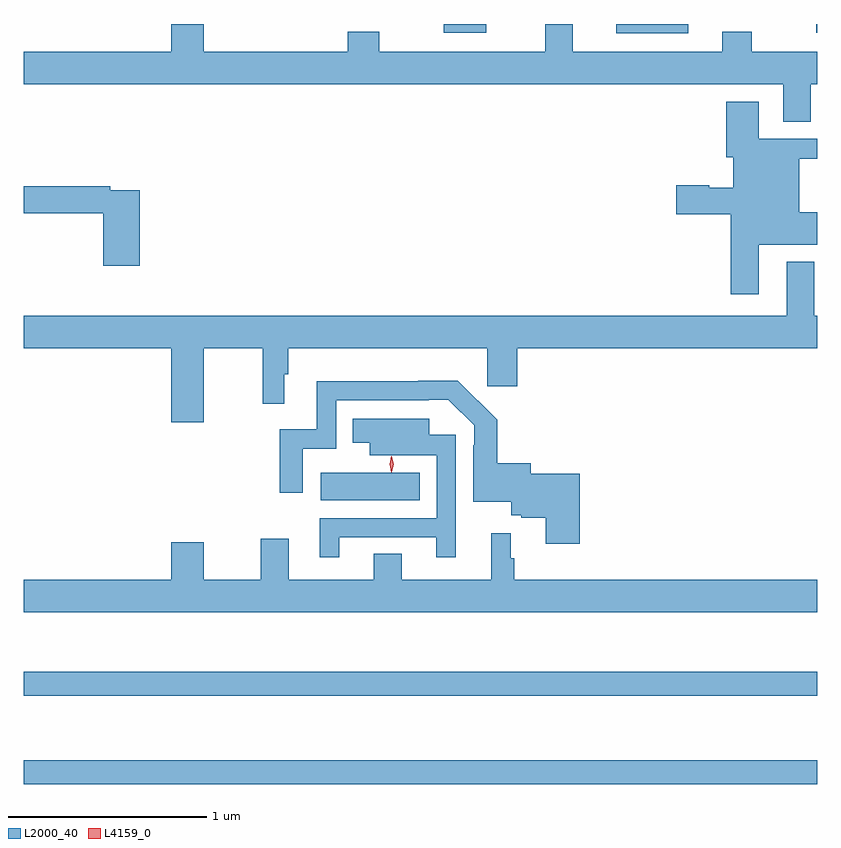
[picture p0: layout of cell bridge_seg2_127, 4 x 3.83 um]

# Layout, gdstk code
import gdstk
lib = gdstk.Library(unit=1e-6, precision=1e-09)
def R(c, l, rs):  # rectangles x0, y0, x1, y1
    for r in rs: c.add(gdstk.rectangle(r[:2], r[2:], *l))
def P(c, l, *ps):  # polygons
    for p in ps: c.add(gdstk.Polygon(p, *l))
L2000_40 = (2000, 40)
L4159_0 = (4159, 0)

bridge_seg2_127 = lib.new_cell('bridge_seg2_127')
R(bridge_seg2_127, L2000_40, [(392.038,640.11,396.038,640.231), (392.038,640.554,396.038,640.675), (393.534,641.54,394.034,641.68), (395.025,643.896,395.389,643.943), (394.155,643.899,394.369,643.943), (396.033,643.899,396.038,643.943)])
P(bridge_seg2_127, L2000_40, [(396.007,643.64),(396.038,643.64),(396.038,643.804),(395.709,643.804),(395.709,643.903),(395.561,643.903),(395.561,643.804),(394.807,643.804),(394.807,643.943),(394.667,643.943),(394.667,643.804),(393.831,643.804),(393.831,643.903),(393.671,643.903),(393.671,643.804),(392.944,643.804),(392.944,643.943),(392.78,643.943),(392.78,643.804),(392.038,643.804),(392.038,643.64),(395.867,643.64),(395.867,643.45),(396.007,643.45)],
  [(395.743,642.83),(396.038,642.83),(396.038,642.994),(395.947,642.994),(395.947,643.264),(396.038,643.264),(396.038,643.365),(395.743,643.365),(395.743,643.552),(395.579,643.552),(395.579,643.272),(395.615,643.272),(395.615,643.117),(395.495,643.117),(395.495,643.13),(395.328,643.13),(395.328,642.983),(395.603,642.983),(395.603,642.579),(395.743,642.579)],
  [(392.621,643.104),(392.474,643.104),(392.474,643.124),(392.038,643.124),(392.038,642.988),(392.438,642.988),(392.438,642.723),(392.621,642.723)],
  [(395.885,642.745),(395.885,642.472),(392.038,642.472),(392.038,642.308),(392.78,642.308),(392.78,641.934),(392.944,641.934),(392.944,642.308),(393.243,642.308),(393.243,642.027),(393.352,642.027),(393.352,642.176),(393.371,642.176),(393.371,642.308),(394.375,642.308),(394.375,642.117),(394.526,642.117),(394.526,642.308),(396.038,642.308),(396.038,642.472),(396.025,642.472),(396.025,642.745)],
  [(394.841,641.674),(394.594,641.674),(394.594,641.728),(394.424,641.728),(394.424,641.947),(394.226,642.145),(394.027,642.145),(394.027,642.142),(393.515,642.142),(393.515,641.898),(393.328,641.898),(393.328,641.58),(393.444,641.58),(393.444,641.802),(393.612,641.802),(393.612,642.045),(394.079,642.045),(394.079,642.048),(394.179,642.048),(394.308,641.919),(394.308,641.819),(394.305,641.819),(394.305,641.534),(394.496,641.534),(394.496,641.465),(394.545,641.465),(394.545,641.453),(394.67,641.453),(394.67,641.322),(394.841,641.322)],
  [(393.628,641.355),(394.118,641.355),(394.118,641.253),(394.215,641.253),(394.215,641.871),(394.081,641.871),(394.081,641.953),(393.697,641.953),(393.697,641.831),(393.782,641.831),(393.782,641.768),(394.119,641.768),(394.119,641.451),(393.53,641.451),(393.53,641.253),(393.628,641.253)],
  [(396.038,641.14),(394.511,641.14),(394.511,641.249),(394.492,641.249),(394.492,641.374),(394.394,641.374),(394.394,641.14),(393.943,641.14),(393.943,641.27),(393.803,641.27),(393.803,641.14),(393.373,641.14),(393.373,641.347),(393.233,641.347),(393.233,641.14),(392.944,641.14),(392.944,641.329),(392.78,641.329),(392.78,641.14),(392.038,641.14),(392.038,640.976),(396.038,640.976)])
P(bridge_seg2_127, L4159_0, [(393.891,641.682),(393.882,641.723),(393.891,641.764),(393.892,641.764),(393.892,641.764),(393.902,641.723),(393.892,641.682),(393.892,641.682)])

lib.write_gds('bridge_seg2_127.gds')
